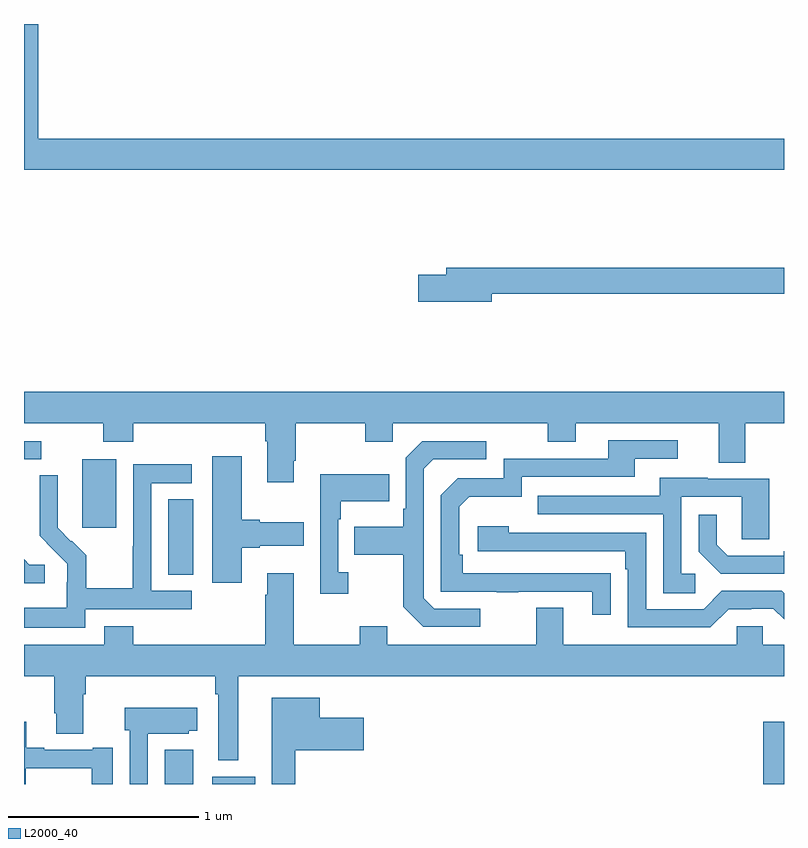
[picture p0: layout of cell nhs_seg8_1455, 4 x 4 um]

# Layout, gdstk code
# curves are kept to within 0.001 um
import gdstk
lib = gdstk.Library(unit=1e-6, precision=1e-09)
def R(c, l, rs):  # rectangles x0, y0, x1, y1
    for r in rs: c.add(gdstk.rectangle(r[:2], r[2:], *l))
def P(c, l, *ps):  # polygons
    for p in ps: c.add(gdstk.Polygon(p, *l))
L2000_40 = (2000, 40)

nhs_seg8_1455 = lib.new_cell('nhs_seg8_1455')
R(nhs_seg8_1455, L2000_40, [(203.741,1147.9,203.89,1148.08), (203.99,1147.9,204.217,1147.939), (206.89,1147.9,207,1148.227), (203.759,1149.001,203.89,1149.398), (203.306,1149.249,203.485,1149.61), (203,1149.609,203.092,1149.705)])
P(nhs_seg8_1455, L2000_40, [(207,1151.296),(203.075,1151.296),(203.075,1151.9),(203,1151.9),(203,1151.132),(207,1151.132)],
  [(205.462,1150.48),(207,1150.48),(207,1150.616),(205.223,1150.616),(205.223,1150.58),(205.074,1150.58),(205.074,1150.438),(205.462,1150.438)],
  [(204.421,1149.601),(204.429,1149.601),(204.429,1149.8),(204.796,1149.8),(204.796,1149.701),(204.942,1149.701),(204.942,1149.8),(205.756,1149.8),(205.756,1149.701),(205.903,1149.701),(205.903,1149.8),(206.657,1149.8),(206.657,1149.592),(206.797,1149.592),(206.797,1149.8),(207,1149.8),(207,1149.964),(203,1149.964),(203,1149.8),(203.416,1149.8),(203.416,1149.701),(203.576,1149.701),(203.576,1149.8),(204.269,1149.8),(204.269,1149.704),(204.281,1149.704),(204.281,1149.489),(204.421,1149.489)],
  [(206.087,1149.008),(205.31,1149.009),(205.31,1149.106),(205.29,1149.106),(205.29,1149.36),(205.343,1149.413),(205.62,1149.413),(205.62,1149.516),(206.215,1149.516),(206.215,1149.612),(206.44,1149.612),(206.44,1149.708),(206.075,1149.708),(206.075,1149.612),(205.524,1149.612),(205.524,1149.51),(205.284,1149.51),(205.194,1149.42),(205.194,1148.913),(205.489,1148.913),(205.489,1148.908),(205.601,1148.908),(205.601,1148.913),(205.991,1148.913),(205.991,1148.79),(206.087,1148.79)],
  [(205.402,1148.823),(205.158,1148.823),(205.104,1148.877),(205.104,1149.558),(205.155,1149.609),(205.432,1149.609),(205.432,1149.705),(205.095,1149.705),(205.008,1149.618),(205.008,1149.349),(204.996,1149.349),(204.996,1149.253),(204.739,1149.253),(204.739,1149.106),(204.996,1149.106),(204.996,1148.833),(205.101,1148.727),(205.402,1148.727)],
  [(204.145,1149.143),(204.241,1149.143),(204.241,1149.155),(204.472,1149.155),(204.472,1149.277),(204.241,1149.277),(204.241,1149.29),(204.145,1149.29),(204.145,1149.625),(203.99,1149.625),(203.99,1148.958),(204.145,1148.958)],
  [(203.322,1148.82),(203.884,1148.82),(203.884,1148.916),(203.67,1148.916),(203.67,1149.483),(203.884,1149.483),(203.884,1149.582),(203.574,1149.582),(203.574,1149.152),(203.572,1149.152),(203.572,1148.929),(203.327,1148.929),(203.327,1149.103),(203.25,1149.18),(203.247,1149.177),(203.177,1149.248),(203.178,1149.524),(203.082,1149.524),(203.082,1149.206),(203.228,1149.058),(203.228,1148.961),(203.226,1148.961),(203.226,1148.827),(203,1148.827),(203,1148.723),(203.322,1148.723)],
  [(204.706,1149.014),(204.654,1149.014),(204.654,1149.293),(204.667,1149.293),(204.667,1149.389),(204.923,1149.389),(204.923,1149.529),(204.558,1149.529),(204.558,1148.901),(204.706,1148.901)],
  [(206.533,1149.006),(206.46,1149.006),(206.46,1149.411),(206.778,1149.411),(206.778,1149.187),(206.923,1149.187),(206.923,1149.507),(206.599,1149.507),(206.599,1149.511),(206.345,1149.511),(206.345,1149.417),(205.705,1149.417),(205.705,1149.321),(206.364,1149.321),(206.364,1148.905),(206.533,1148.905)],
  [(207,1149.125),(206.999,1149.125),(206.999,1149.102),(206.704,1149.102),(206.647,1149.159),(206.647,1149.316),(206.55,1149.316),(206.55,1149.122),(206.666,1149.006),(207,1149.006)],
  [(206.709,1148.82),(206.828,1148.82),(206.828,1148.823),(206.943,1148.823),(207,1148.766),(207,1148.904),(206.988,1148.916),(206.673,1148.916),(206.577,1148.82),(206.274,1148.82),(206.274,1149.222),(205.55,1149.222),(205.55,1149.256),(205.389,1149.256),(205.389,1149.126),(206.165,1149.126),(206.165,1149.029),(206.178,1149.029),(206.178,1148.724),(206.613,1148.724)],
  [(203.11,1149.054),(203.028,1149.054),(203,1149.082),(203,1148.957),(203.11,1148.957)],
  [(204.127,1148.468),(207,1148.468),(207,1148.632),(206.889,1148.632),(206.889,1148.73),(206.751,1148.73),(206.751,1148.632),(205.837,1148.632),(205.837,1148.827),(205.697,1148.827),(205.697,1148.632),(204.913,1148.632),(204.913,1148.731),(204.766,1148.731),(204.766,1148.632),(204.421,1148.632),(204.421,1149.01),(204.281,1149.01),(204.281,1148.897),(204.269,1148.897),(204.269,1148.632),(203.576,1148.632),(203.576,1148.731),(203.423,1148.731),(203.423,1148.632),(203,1148.632),(203,1148.468),(203.159,1148.468),(203.159,1148.272),(203.171,1148.272),(203.171,1148.164),(203.311,1148.164),(203.311,1148.372),(203.324,1148.372),(203.324,1148.468),(204.006,1148.468),(204.006,1148.372),(204.023,1148.372),(204.023,1148.024),(204.127,1148.024)],
  [(204.427,1148.078),(204.787,1148.078),(204.787,1148.248),(204.556,1148.248),(204.556,1148.353),(204.305,1148.353),(204.305,1147.9),(204.427,1147.9)],
  [(203.652,1148.165),(203.868,1148.165),(203.868,1148.18),(203.911,1148.18),(203.911,1148.302),(203.531,1148.302),(203.531,1148.184),(203.556,1148.184),(203.556,1147.9),(203.652,1147.9)],
  [(203.01,1147.983),(203.357,1147.983),(203.357,1147.9),(203.467,1147.9),(203.467,1148.092),(203.363,1148.092),(203.363,1148.079),(203.107,1148.079),(203.107,1148.092),(203.011,1148.092),(203.011,1148.227),(203,1148.227),(203,1147.9),(203.01,1147.9)])

lib.write_gds('nhs_seg8_1455.gds')
